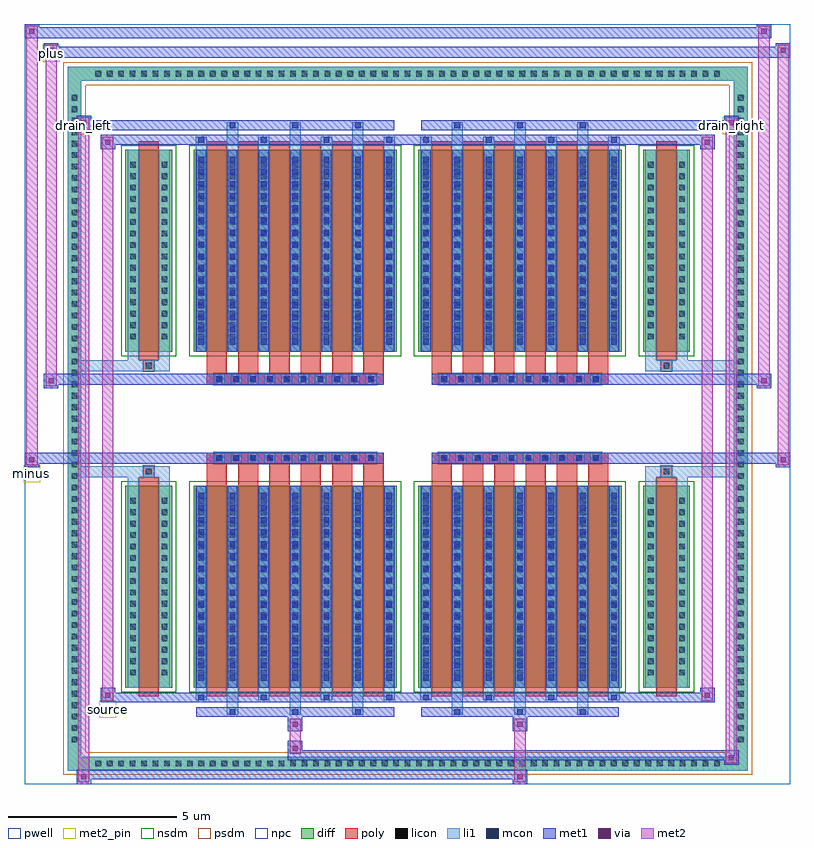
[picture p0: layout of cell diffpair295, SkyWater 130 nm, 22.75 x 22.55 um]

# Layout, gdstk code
import gdstk
lib = gdstk.Library(unit=1e-6, precision=5e-09)
def R(c, l, rs):  # rectangles x0, y0, x1, y1
    for r in rs: c.add(gdstk.rectangle(r[:2], r[2:], *l))
def A(c, l, x, y, w, h, nx, ny, dx, dy):  # array of equal rectangles
    R(c, l, [(x+i*dx, y+j*dy, x+i*dx+w, y+j*dy+h) for i in range(nx) for j in range(ny)])
def P(c, l, *ps):  # polygons
    for p in ps: c.add(gdstk.Polygon(p, *l))
pwell = (64, 44)
diff = (65, 20)
poly = (66, 20)
licon = (66, 44)
li1 = (67, 20)
mcon = (67, 44)
met1 = (68, 20)
via = (68, 44)
met2_pin = (69, 16)
met2 = (69, 20)
nsdm = (93, 44)
psdm = (94, 20)
npc = (95, 20)

diffpair295 = lib.new_cell('diffpair295')
R(diffpair295, pwell, [(-11.36,-10.84,11.36,11.71), (-8.68,-9.03,-0.01,-0.805), (0.01,-9.03,8.68,-0.805), (-8.68,0.805,-0.01,9.03), (0.01,0.805,8.68,9.03)])
A(diffpair295, diff, -9.385, -10.44, 0.41, 0.41, 55, 2, 0.34, 20.47)
A(diffpair295, diff, -10.09, -9.725, 0.41, 0.41, 1, 57, 0, 0.34)
A(diffpair295, diff, 9.68, -9.725, 0.41, 0.41, 1, 57, 0, 0.34)
R(diffpair295, diff, [(-9.385,-10.44,9.385,-10.03), (-10.09,-9.725,-9.68,9.725), (9.68,-9.725,10.09,9.725), (-8.37,-7.985,-6.99,-1.985), (-6.35,-7.985,-0.32,-1.985), (0.32,-7.985,6.35,-1.985), (6.99,-7.985,8.37,-1.985), (-8.37,1.985,-6.99,7.985), (-6.35,1.985,-0.32,7.985), (0.32,1.985,6.35,7.985), (6.99,1.985,8.37,7.985), (-9.385,10.03,9.385,10.44)])
P(diffpair295, diff, [(10.09,10.44),(-10.09,10.44),(-10.09,-10.03),(-9.68,-10.03),(-9.68,10.03),(9.68,10.03),(9.68,-10.03),(-9.68,-10.03),(-10.09,-10.03),(-10.09,-10.44),(10.09,-10.44)])
A(diffpair295, poly, -5.96, -8.235, 0.6, 6.5, 6, 2, 0.93, 9.97)
A(diffpair295, poly, 0.71, -8.235, 0.6, 6.5, 6, 2, 0.93, 9.97)
A(diffpair295, poly, -5.96, -1.735, 0.6, 0.4, 6, 2, 0.93, 3.07)
A(diffpair295, poly, 0.71, -1.735, 0.6, 0.4, 6, 2, 0.93, 3.07)
A(diffpair295, poly, -5.75, -1.335, 0.33, 0.33, 10, 2, 0.5, 2.34)
A(diffpair295, poly, 0.92, -1.335, 0.33, 0.33, 10, 2, 0.5, 2.34)
R(diffpair295, poly, [(-7.98,-8.235,-7.38,-1.735), (7.38,-8.235,7.98,-1.735), (-7.845,-1.735,-7.515,-1.405), (-7.845,-1.735,-7.515,-1.405), (7.515,-1.735,7.845,-1.405), (7.515,-1.735,7.845,-1.405), (-5.96,-1.335,-0.71,-1.005), (0.71,-1.335,5.96,-1.005), (-5.96,1.005,-0.71,1.335), (0.71,1.005,5.96,1.335), (-7.845,1.405,-7.515,1.735), (-7.845,1.405,-7.515,1.735), (7.515,1.405,7.845,1.735), (7.515,1.405,7.845,1.735), (-7.98,1.735,-7.38,8.235), (7.38,1.735,7.98,8.235)])
A(diffpair295, licon, -9.265, -10.32, 0.17, 0.17, 55, 2, 0.34, 20.47)
A(diffpair295, licon, -9.97, -9.605, 0.17, 0.17, 1, 57, 0, 0.34)
A(diffpair295, licon, 9.8, -9.605, 0.17, 0.17, 1, 57, 0, 0.34)
A(diffpair295, licon, -8.23, -7.62, 0.17, 0.17, 1, 16, 0, 0.34)
A(diffpair295, licon, -7.3, -7.62, 0.17, 0.17, 1, 16, 0, 0.34)
A(diffpair295, licon, -6.21, -7.62, 0.17, 0.17, 7, 16, 0.93, 0.34)
A(diffpair295, licon, 0.46, -7.62, 0.17, 0.17, 7, 16, 0.93, 0.34)
A(diffpair295, licon, 7.13, -7.62, 0.17, 0.17, 1, 16, 0, 0.34)
A(diffpair295, licon, 8.06, -7.62, 0.17, 0.17, 1, 16, 0, 0.34)
A(diffpair295, licon, -5.67, -1.255, 0.17, 0.17, 10, 2, 0.5, 2.34)
A(diffpair295, licon, 1, -1.255, 0.17, 0.17, 10, 2, 0.5, 2.34)
A(diffpair295, licon, -8.23, 2.35, 0.17, 0.17, 1, 16, 0, 0.34)
A(diffpair295, licon, -7.3, 2.35, 0.17, 0.17, 1, 16, 0, 0.34)
A(diffpair295, licon, -6.21, 2.35, 0.17, 0.17, 7, 16, 0.93, 0.34)
A(diffpair295, licon, 0.46, 2.35, 0.17, 0.17, 7, 16, 0.93, 0.34)
A(diffpair295, licon, 7.13, 2.35, 0.17, 0.17, 1, 16, 0, 0.34)
A(diffpair295, licon, 8.06, 2.35, 0.17, 0.17, 1, 16, 0, 0.34)
R(diffpair295, licon, [(-7.765,-1.655,-7.595,-1.485), (7.595,-1.655,7.765,-1.485), (-7.765,1.485,-7.595,1.655), (7.595,1.485,7.765,1.655)])
A(diffpair295, li1, -9.345, -10.4, 0.33, 0.33, 55, 2, 0.34, 20.47)
A(diffpair295, li1, -10.05, -9.685, 0.33, 0.33, 1, 57, 0, 0.34)
A(diffpair295, li1, 9.72, -9.685, 0.33, 0.33, 1, 57, 0, 0.34)
A(diffpair295, li1, -5.36, -8.79, 0.33, 0.805, 3, 2, 1.86, 16.775)
A(diffpair295, li1, -5.28, -8.79, 0.17, 0.17, 3, 2, 1.86, 17.41)
A(diffpair295, li1, 1.31, -8.79, 0.33, 0.805, 3, 2, 1.86, 16.775)
A(diffpair295, li1, 1.39, -8.79, 0.17, 0.17, 3, 2, 1.86, 17.41)
A(diffpair295, li1, -6.29, -8.36, 0.33, 0.375, 4, 2, 1.86, 16.345)
A(diffpair295, li1, -6.21, -8.36, 0.17, 0.17, 4, 2, 1.86, 16.55)
A(diffpair295, li1, 0.38, -8.36, 0.33, 0.375, 4, 2, 1.86, 16.345)
A(diffpair295, li1, 0.46, -8.36, 0.17, 0.17, 4, 2, 1.86, 16.55)
A(diffpair295, li1, -6.29, -7.985, 0.33, 6, 7, 2, 0.93, 9.97)
A(diffpair295, li1, 0.38, -7.985, 0.33, 6, 7, 2, 0.93, 9.97)
A(diffpair295, li1, -6.21, -7.77, 0.17, 0.17, 7, 16, 0.93, 0.36)
A(diffpair295, li1, -6.21, -7.77, 0.17, 5.57, 7, 2, 0.93, 9.97)
A(diffpair295, li1, 0.46, -7.77, 0.17, 0.17, 7, 16, 0.93, 0.36)
A(diffpair295, li1, 0.46, -7.77, 0.17, 5.57, 7, 2, 0.93, 9.97)
A(diffpair295, li1, -8.31, -7.7, 0.33, 0.33, 1, 16, 0, 0.34)
A(diffpair295, li1, -7.38, -7.7, 0.33, 0.33, 1, 16, 0, 0.34)
A(diffpair295, li1, -6.29, -7.7, 0.33, 0.33, 7, 16, 0.93, 0.34)
A(diffpair295, li1, 0.38, -7.7, 0.33, 0.33, 7, 16, 0.93, 0.34)
A(diffpair295, li1, 7.05, -7.7, 0.33, 0.33, 1, 16, 0, 0.34)
A(diffpair295, li1, 7.98, -7.7, 0.33, 0.33, 1, 16, 0, 0.34)
A(diffpair295, li1, -5.75, -1.335, 0.33, 0.33, 10, 2, 0.5, 2.34)
A(diffpair295, li1, 0.92, -1.335, 0.33, 0.33, 10, 2, 0.5, 2.34)
A(diffpair295, li1, -6.21, 2.2, 0.17, 0.17, 7, 16, 0.93, 0.36)
A(diffpair295, li1, 0.46, 2.2, 0.17, 0.17, 7, 16, 0.93, 0.36)
A(diffpair295, li1, -8.31, 2.27, 0.33, 0.33, 1, 16, 0, 0.34)
A(diffpair295, li1, -7.38, 2.27, 0.33, 0.33, 1, 16, 0, 0.34)
A(diffpair295, li1, -6.29, 2.27, 0.33, 0.33, 7, 16, 0.93, 0.34)
A(diffpair295, li1, 0.38, 2.27, 0.33, 0.33, 7, 16, 0.93, 0.34)
A(diffpair295, li1, 7.05, 2.27, 0.33, 0.33, 1, 16, 0, 0.34)
A(diffpair295, li1, 7.98, 2.27, 0.33, 0.33, 1, 16, 0, 0.34)
R(diffpair295, li1, [(-10.09,-10.44,-9.68,-10.03), (-10.09,-10.44,-9.68,-10.03), (-9.68,-10.44,9.68,-10.03), (9.68,-10.44,10.09,-10.03), (9.68,-10.44,10.09,-10.03), (-10.09,-10.03,-9.68,10.03), (9.68,-10.03,10.09,10.03), (-8.31,-7.985,-7.98,-1.985), (-7.38,-7.985,-7.05,-1.985), (7.05,-7.985,7.38,-1.985), (7.98,-7.985,8.31,-1.985), (-8.31,-1.985,-7.98,-1.405), (-7.38,-1.985,-7.05,-1.405), (7.05,-1.985,7.38,-1.405), (7.98,-1.985,8.31,-1.405), (-10.09,-1.735,-7.845,-1.405), (-8.31,-1.735,-7.845,-1.405), (-7.845,-1.735,-7.515,-1.405), (-7.515,-1.735,-7.05,-1.405), (7.05,-1.735,7.515,-1.405), (7.515,-1.735,7.845,-1.405), (7.515,-1.735,10.09,-1.405), (7.845,-1.735,8.31,-1.405), (-10.09,1.405,-7.845,1.735), (-8.31,1.405,-7.845,1.735), (-8.31,1.405,-7.98,1.985), (-7.845,1.405,-7.515,1.735), (-7.515,1.405,-7.05,1.735), (-7.38,1.405,-7.05,1.985), (7.05,1.405,7.515,1.735), (7.05,1.405,7.38,1.985), (7.515,1.405,7.845,1.735), (7.515,1.405,10.09,1.735), (7.845,1.405,8.31,1.735), (7.98,1.405,8.31,1.985), (-8.31,1.985,-7.98,7.985), (-7.38,1.985,-7.05,7.985), (7.05,1.985,7.38,7.985), (7.98,1.985,8.31,7.985), (-10.09,10.03,-9.68,10.44), (-10.09,10.03,-9.68,10.44), (-9.68,10.03,9.68,10.44), (9.68,10.03,10.09,10.44), (9.68,10.03,10.09,10.44)])
A(diffpair295, mcon, -5.28, -8.79, 0.17, 0.17, 3, 2, 1.86, 17.41)
A(diffpair295, mcon, 1.39, -8.79, 0.17, 0.17, 3, 2, 1.86, 17.41)
A(diffpair295, mcon, -6.21, -8.36, 0.17, 0.17, 4, 2, 1.86, 16.55)
A(diffpair295, mcon, 0.46, -8.36, 0.17, 0.17, 4, 2, 1.86, 16.55)
A(diffpair295, mcon, -6.21, -7.77, 0.17, 0.17, 7, 16, 0.93, 0.36)
A(diffpair295, mcon, 0.46, -7.77, 0.17, 0.17, 7, 16, 0.93, 0.36)
A(diffpair295, mcon, -5.67, -1.255, 0.17, 0.17, 10, 2, 0.5, 2.34)
A(diffpair295, mcon, 1, -1.255, 0.17, 0.17, 10, 2, 0.5, 2.34)
A(diffpair295, mcon, -6.21, 2.2, 0.17, 0.17, 7, 16, 0.93, 0.36)
A(diffpair295, mcon, 0.46, 2.2, 0.17, 0.17, 7, 16, 0.93, 0.36)
A(diffpair295, met1, -5.34, -8.85, 0.29, 0.29, 3, 2, 1.86, 17.41)
A(diffpair295, met1, 1.33, -8.85, 0.29, 0.29, 3, 2, 1.86, 17.41)
A(diffpair295, met1, -6.27, -8.42, 0.29, 0.29, 4, 2, 1.86, 16.55)
A(diffpair295, met1, 0.4, -8.42, 0.29, 0.29, 4, 2, 1.86, 16.55)
A(diffpair295, met1, -6.27, -7.985, 0.29, 6, 7, 2, 0.93, 9.97)
A(diffpair295, met1, 0.4, -7.985, 0.29, 6, 7, 2, 0.93, 9.97)
A(diffpair295, met1, -6.27, -7.83, 0.29, 0.29, 7, 16, 0.93, 0.36)
A(diffpair295, met1, 0.4, -7.83, 0.29, 0.29, 7, 16, 0.93, 0.36)
A(diffpair295, met1, -5.73, -1.315, 0.29, 0.29, 10, 2, 0.5, 2.34)
A(diffpair295, met1, 0.94, -1.315, 0.29, 0.29, 10, 2, 0.5, 2.34)
A(diffpair295, met1, -6.27, 2.14, 0.29, 0.29, 7, 16, 0.93, 0.36)
A(diffpair295, met1, 0.4, 2.14, 0.29, 0.29, 7, 16, 0.93, 0.36)
R(diffpair295, met1, [(-9.82,-10.84,-9.39,-10.41), (3.12,-10.84,3.55,-10.41), (-9.82,-10.7,3.55,-10.41), (9.39,-10.27,9.82,-9.84), (-3.55,-10.13,9.82,-9.84), (-3.55,-9.99,-3.12,-9.56), (-3.55,-9.28,-3.12,-8.85), (3.12,-9.28,3.55,-8.85), (-6.27,-8.85,-0.4,-8.56), (0.4,-8.85,6.27,-8.56), (-9.11,-8.42,-8.68,-7.99), (-9.11,-8.42,-6.27,-8.13), (-6.27,-8.42,-0.4,-8.13), (-0.4,-8.42,0.4,-8.13), (0.4,-8.42,6.27,-8.13), (6.27,-8.42,9.11,-8.13), (8.68,-8.42,9.11,-7.99), (-11.36,-1.435,-10.93,-1.005), (10.93,-1.435,11.36,-1.005), (-11.36,-1.335,-0.71,-1.005), (-5.96,-1.335,-0.71,-1.005), (0.71,-1.335,5.96,-1.005), (0.71,-1.335,11.36,-1.005), (-10.79,0.905,-10.36,1.335), (10.36,0.905,10.79,1.335), (-10.79,1.005,-5.96,1.335), (-5.96,1.005,-0.71,1.335), (0.71,1.005,5.96,1.335), (5.96,1.005,10.79,1.335), (-9.11,7.99,-8.68,8.42), (8.68,7.99,9.11,8.42), (-9.11,8.13,-6.27,8.42), (-6.27,8.13,-0.4,8.42), (-0.4,8.13,0.4,8.42), (0.4,8.13,6.27,8.42), (6.27,8.13,9.11,8.42), (-9.82,8.56,-9.39,8.99), (-9.82,8.56,-6.27,8.85), (-6.27,8.56,-0.4,8.85), (0.4,8.56,6.27,8.85), (6.27,8.56,9.82,8.85), (9.39,8.56,9.82,8.99), (-10.79,10.71,-10.36,11.14), (-10.79,10.71,-8.68,11.04), (-8.68,10.71,8.68,11.04), (8.68,10.71,11.36,11.04), (10.93,10.71,11.36,11.14), (-11.36,11.28,-10.93,11.71), (-11.36,11.28,-8.68,11.61), (-8.68,11.28,8.68,11.61), (8.68,11.28,10.79,11.61), (10.36,11.28,10.79,11.71)])
R(diffpair295, via, [(-9.68,-10.7,-9.53,-10.55), (3.26,-10.7,3.41,-10.55), (9.53,-10.13,9.68,-9.98), (-3.41,-9.85,-3.26,-9.7), (-3.41,-9.14,-3.26,-8.99), (3.26,-9.14,3.41,-8.99), (-8.97,-8.28,-8.82,-8.13), (8.82,-8.28,8.97,-8.13), (-11.22,-1.295,-11.07,-1.145), (11.07,-1.295,11.22,-1.145), (-10.65,1.045,-10.5,1.195), (10.5,1.045,10.65,1.195), (-8.97,8.13,-8.82,8.28), (8.82,8.13,8.97,8.28), (-9.68,8.7,-9.53,8.85), (9.53,8.7,9.68,8.85), (-10.65,10.85,-10.5,11), (11.07,10.85,11.22,11), (-11.22,11.42,-11.07,11.57), (10.5,11.42,10.65,11.57)])
R(diffpair295, met2_pin, [(-9.145,-8.87,-8.645,-8.37), (-11.395,-1.885,-10.895,-1.385), (-9.855,8.44,-9.355,8.94), (9.355,8.44,9.855,8.94), (-10.825,10.59,-10.325,11.09)])
R(diffpair295, met2, [(-9.77,-10.79,-9.44,-10.46), (-9.77,-10.79,-9.44,8.94), (3.17,-10.79,3.5,-10.46), (3.17,-10.46,3.5,-9.23), (9.44,-10.22,9.77,-9.89), (9.44,-10.22,9.77,8.94), (-3.5,-9.94,-3.17,-9.61), (-3.5,-9.61,-3.17,-9.23), (-3.5,-9.23,-3.17,-8.9), (3.17,-9.23,3.5,-8.9), (-9.06,-8.37,-8.73,-8.04), (-9.06,-8.37,-8.73,8.37), (8.73,-8.37,9.06,-8.04), (8.73,-8.37,9.06,8.37), (-11.31,-1.385,-10.98,-1.055), (-11.31,-1.385,-10.98,11.66), (10.98,-1.385,11.31,-1.055), (10.98,-1.385,11.31,11.09), (-10.74,0.955,-10.41,1.285), (-10.74,0.955,-10.41,11.09), (10.41,0.955,10.74,1.285), (10.41,0.955,10.74,11.66), (-9.06,8.04,-8.73,8.37), (8.73,8.04,9.06,8.37), (-9.77,8.61,-9.44,8.94), (9.44,8.61,9.77,8.94), (-10.74,10.76,-10.41,11.09), (10.98,10.76,11.31,11.09), (-11.31,11.33,-10.98,11.66), (10.41,11.33,10.74,11.66)])
P(diffpair295, met2, [(11.31,-1.385),(11.31,-1.385),(11.31,-1.055),(11.31,-1.055)],
  [(11.31,10.76),(11.31,10.76),(11.31,11.09),(11.31,11.09)],
  [(-10.98,-1.385),(-10.98,-1.385),(-10.98,-1.055),(-10.98,-1.055)],
  [(-10.98,11.33),(-10.98,11.33),(-10.98,11.66),(-10.98,11.66)],
  [(10.74,0.955),(10.74,0.955),(10.74,1.285),(10.74,1.285)],
  [(10.74,11.33),(10.74,11.33),(10.74,11.66),(10.74,11.66)],
  [(-10.41,0.955),(-10.41,0.955),(-10.41,1.285),(-10.41,1.285)],
  [(-10.41,10.76),(-10.41,10.76),(-10.41,11.09),(-10.41,11.09)],
  [(-9.44,-10.79),(-9.44,-10.79),(-9.44,-10.46),(-9.44,-10.46)],
  [(-9.44,8.61),(-9.44,8.61),(-9.44,8.94),(-9.44,8.94)],
  [(9.77,-10.22),(9.77,-10.22),(9.77,-9.89),(9.77,-9.89)],
  [(9.77,8.61),(9.77,8.61),(9.77,8.94),(9.77,8.94)],
  [(-8.73,-8.37),(-8.73,-8.37),(-8.73,-8.04),(-8.73,-8.04)],
  [(-8.73,8.04),(-8.73,8.04),(-8.73,8.37),(-8.73,8.37)],
  [(9.06,-8.37),(9.06,-8.37),(9.06,-8.04),(9.06,-8.04)],
  [(9.06,8.04),(9.06,8.04),(9.06,8.37),(9.06,8.37)])
R(diffpair295, nsdm, [(-8.5,-8.115,-6.86,-1.855), (-6.48,-8.115,-0.19,-1.855), (0.19,-8.115,6.48,-1.855), (6.86,-8.115,8.5,-1.855), (-8.5,1.855,-6.86,8.115), (-6.48,1.855,-0.19,8.115), (0.19,1.855,6.48,8.115), (6.86,1.855,8.5,8.115)])
P(diffpair295, psdm, [(10.22,10.57),(-10.22,10.57),(-10.22,-9.9),(-9.55,-9.9),(-9.55,9.9),(9.55,9.9),(9.55,-9.9),(-9.55,-9.9),(-10.22,-9.9),(-10.22,-10.57),(10.22,-10.57)])
A(diffpair295, npc, -5.77, -1.355, 0.37, 0.37, 10, 2, 0.5, 2.34)
A(diffpair295, npc, 0.9, -1.355, 0.37, 0.37, 10, 2, 0.5, 2.34)
R(diffpair295, npc, [(-7.865,-1.755,-7.495,-1.385), (7.495,-1.755,7.865,-1.385), (-5.77,-1.355,-4.9,-0.985), (-5.77,-1.355,-4.9,-0.985), (-5.27,-1.355,-4.4,-0.985), (-5.27,-1.355,-4.4,-0.985), (-4.77,-1.355,-3.9,-0.985), (-4.77,-1.355,-3.9,-0.985), (-4.27,-1.355,-3.4,-0.985), (-4.27,-1.355,-3.4,-0.985), (-3.77,-1.355,-2.9,-0.985), (-3.77,-1.355,-2.9,-0.985), (-3.27,-1.355,-2.4,-0.985), (-3.27,-1.355,-2.4,-0.985), (-2.77,-1.355,-1.9,-0.985), (-2.77,-1.355,-1.9,-0.985), (-2.27,-1.355,-1.4,-0.985), (-2.27,-1.355,-1.4,-0.985), (-1.77,-1.355,-0.9,-0.985), (-1.77,-1.355,-0.9,-0.985), (0.9,-1.355,1.77,-0.985), (0.9,-1.355,1.77,-0.985), (1.4,-1.355,2.27,-0.985), (1.4,-1.355,2.27,-0.985), (1.9,-1.355,2.77,-0.985), (1.9,-1.355,2.77,-0.985), (2.4,-1.355,3.27,-0.985), (2.4,-1.355,3.27,-0.985), (2.9,-1.355,3.77,-0.985), (2.9,-1.355,3.77,-0.985), (3.4,-1.355,4.27,-0.985), (3.4,-1.355,4.27,-0.985), (3.9,-1.355,4.77,-0.985), (3.9,-1.355,4.77,-0.985), (4.4,-1.355,5.27,-0.985), (4.4,-1.355,5.27,-0.985), (4.9,-1.355,5.77,-0.985), (4.9,-1.355,5.77,-0.985), (-5.77,0.985,-4.9,1.355), (-5.77,0.985,-4.9,1.355), (-5.27,0.985,-4.4,1.355), (-5.27,0.985,-4.4,1.355), (-4.77,0.985,-3.9,1.355), (-4.77,0.985,-3.9,1.355), (-4.27,0.985,-3.4,1.355), (-4.27,0.985,-3.4,1.355), (-3.77,0.985,-2.9,1.355), (-3.77,0.985,-2.9,1.355), (-3.27,0.985,-2.4,1.355), (-3.27,0.985,-2.4,1.355), (-2.77,0.985,-1.9,1.355), (-2.77,0.985,-1.9,1.355), (-2.27,0.985,-1.4,1.355), (-2.27,0.985,-1.4,1.355), (-1.77,0.985,-0.9,1.355), (-1.77,0.985,-0.9,1.355), (0.9,0.985,1.77,1.355), (0.9,0.985,1.77,1.355), (1.4,0.985,2.27,1.355), (1.4,0.985,2.27,1.355), (1.9,0.985,2.77,1.355), (1.9,0.985,2.77,1.355), (2.4,0.985,3.27,1.355), (2.4,0.985,3.27,1.355), (2.9,0.985,3.77,1.355), (2.9,0.985,3.77,1.355), (3.4,0.985,4.27,1.355), (3.4,0.985,4.27,1.355), (3.9,0.985,4.77,1.355), (3.9,0.985,4.77,1.355), (4.4,0.985,5.27,1.355), (4.4,0.985,5.27,1.355), (4.9,0.985,5.77,1.355), (4.9,0.985,5.77,1.355), (-7.865,1.385,-7.495,1.755), (7.495,1.385,7.865,1.755)])
diffpair295.add(gdstk.Label('minus', (-11.145,-1.635), layer=69, texttype=5))
diffpair295.add(gdstk.Label('drain_right', (9.605,8.69), layer=69, texttype=5))
diffpair295.add(gdstk.Label('drain_left', (-9.605,8.69), layer=69, texttype=5))
diffpair295.add(gdstk.Label('source', (-8.895,-8.62), layer=69, texttype=5))
diffpair295.add(gdstk.Label('plus', (-10.575,10.84), layer=69, texttype=5))

lib.write_gds('diffpair295.gds')
